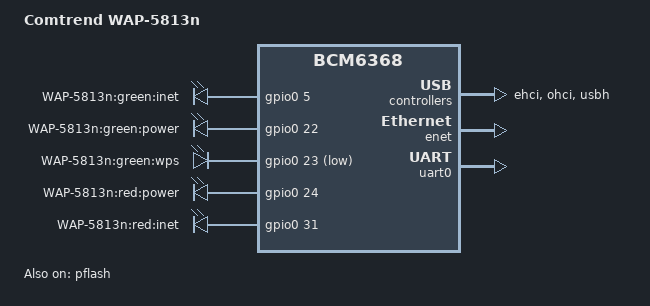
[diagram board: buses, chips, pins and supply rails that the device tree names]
// SPDX-License-Identifier: GPL-2.0+
/*
 * Copyright (C) 2017 Álvaro Fernández Rojas <noltari@gmail.com>
 */

/dts-v1/;

#include "brcm,bcm6368.dtsi"

/ {
	model = "Comtrend WAP-5813n";
	compatible = "comtrend,wap-5813n", "brcm,bcm6368";

	aliases {
		serial0 = &uart0;
	};

	chosen {
		stdout-path = "serial0:115200n8";
	};

	gpio-leds {
		compatible = "gpio-leds";

		inet_green {
			label = "WAP-5813n:green:inet";
			gpios = <&gpio0 5 GPIO_ACTIVE_HIGH>;
		};

		power_green {
			label = "WAP-5813n:green:power";
			gpios = <&gpio0 22 GPIO_ACTIVE_HIGH>;
			default-state = "on";
		};

		wps_green {
			label = "WAP-5813n:green:wps";
			gpios = <&gpio0 23 GPIO_ACTIVE_LOW>;
		};

		power_red {
			label = "WAP-5813n:red:power";
			gpios = <&gpio0 24 GPIO_ACTIVE_HIGH>;
		};

		inet_red {
			label = "WAP-5813n:red:inet";
			gpios = <&gpio0 31 GPIO_ACTIVE_HIGH>;
		};
	};
};

&ehci {
	status = "okay";
};

&enet {
	status = "okay";

	port@4 {
		compatible = "brcm,enetsw-port";
		reg = <4>;
		label = "rgmii";
		brcm,phy-id = <0xff>;
		speed = <1000>;
		full-duplex;
		bypass-link;
	};
};

&gpio0 {
	status = "okay";
};

&ohci {
	status = "okay";
};

&pflash {
	status = "okay";
};

&uart0 {
	u-boot,dm-pre-reloc;
	status = "okay";
};

&usbh {
	status = "okay";
};
